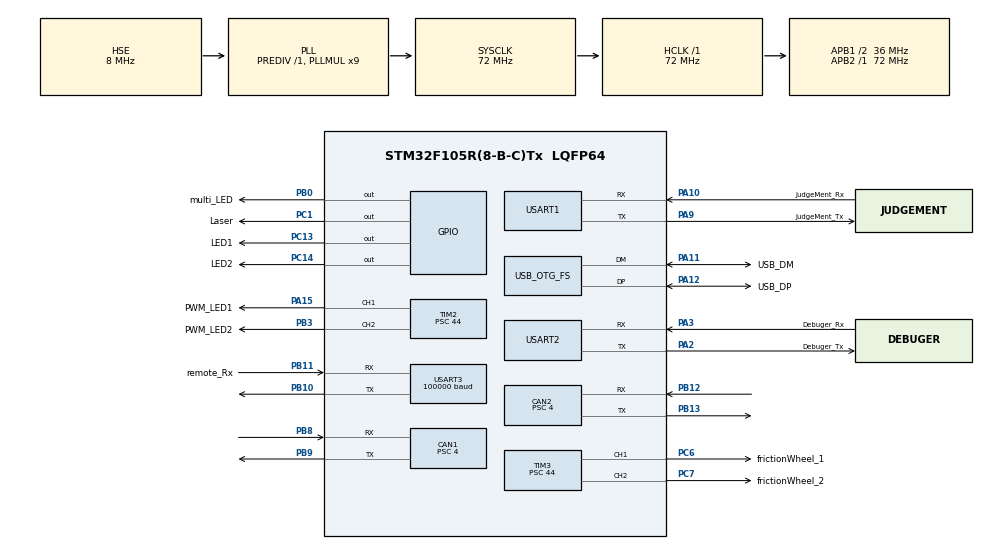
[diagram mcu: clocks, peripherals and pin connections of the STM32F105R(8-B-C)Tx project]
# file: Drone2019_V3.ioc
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CAN1.ABOM=ENABLE
CAN1.AWUM=ENABLE
CAN1.BS1=CAN_BS1_5TQ
CAN1.BS2=CAN_BS2_3TQ
CAN1.CalculateTimeBit=1000
CAN1.CalculateTimeQuantum=111.11111111111111
CAN1.NART=ENABLE
CAN1.Prescaler=4
CAN2.ABOM=ENABLE
CAN2.AWUM=ENABLE
CAN2.BS1=CAN_BS1_5TQ
CAN2.BS2=CAN_BS2_3TQ
CAN2.CalculateTimeBit=1000
CAN2.CalculateTimeQuantum=111.11111111111111
CAN2.NART=ENABLE
CAN2.Prescaler=4
Dma.Request0=USART1_RX
Dma.Request1=USART2_TX
Dma.Request2=USART3_RX
Dma.Request3=USART2_RX
Dma.USART1_RX.0.Direction=DMA_PERIPH_TO_MEMORY
Dma.USART1_RX.0.Instance=DMA1_Channel5
Dma.USART1_RX.0.MemDataAlignment=DMA_MDATAALIGN_BYTE
Dma.USART1_RX.0.MemInc=DMA_MINC_ENABLE
Dma.USART1_RX.0.Mode=DMA_CIRCULAR
Dma.USART1_RX.0.PeriphDataAlignment=DMA_PDATAALIGN_BYTE
Dma.USART1_RX.0.PeriphInc=DMA_PINC_DISABLE
Dma.USART1_RX.0.Priority=DMA_PRIORITY_LOW
Dma.USART2_RX.3.Direction=DMA_PERIPH_TO_MEMORY
Dma.USART2_RX.3.Instance=DMA1_Channel6
Dma.USART2_RX.3.MemDataAlignment=DMA_MDATAALIGN_BYTE
Dma.USART2_RX.3.MemInc=DMA_MINC_ENABLE
Dma.USART2_RX.3.Mode=DMA_NORMAL
Dma.USART2_RX.3.PeriphDataAlignment=DMA_PDATAALIGN_BYTE
Dma.USART2_RX.3.PeriphInc=DMA_PINC_DISABLE
Dma.USART2_RX.3.Priority=DMA_PRIORITY_LOW
Dma.USART2_TX.1.Direction=DMA_MEMORY_TO_PERIPH
Dma.USART2_TX.1.Instance=DMA1_Channel7
Dma.USART2_TX.1.MemDataAlignment=DMA_MDATAALIGN_BYTE
Dma.USART2_TX.1.MemInc=DMA_MINC_ENABLE
Dma.USART2_TX.1.Mode=DMA_NORMAL
Dma.USART2_TX.1.PeriphDataAlignment=DMA_PDATAALIGN_BYTE
Dma.USART2_TX.1.PeriphInc=DMA_PINC_DISABLE
Dma.USART2_TX.1.Priority=DMA_PRIORITY_LOW
Dma.USART3_RX.2.Direction=DMA_PERIPH_TO_MEMORY
Dma.USART3_RX.2.Instance=DMA1_Channel3
Dma.USART3_RX.2.MemDataAlignment=DMA_MDATAALIGN_BYTE
Dma.USART3_RX.2.MemInc=DMA_MINC_ENABLE
Dma.USART3_RX.2.Mode=DMA_CIRCULAR
Dma.USART3_RX.2.PeriphDataAlignment=DMA_PDATAALIGN_BYTE
Dma.USART3_RX.2.PeriphInc=DMA_PINC_DISABLE
Dma.USART3_RX.2.Priority=DMA_PRIORITY_LOW
FREERTOS.Tasks01=init_TASK,0,128,init,Default,NULL,Dynamic,NULL,NULL
Mcu.Family=STM32F1
Mcu.Name=STM32F105R(8-B-C)Tx
Mcu.Package=LQFP64
NVIC.CAN1_RX0_IRQn=true\:5\:0\:false\:false\:true\:true\:true
NVIC.CAN1_RX1_IRQn=true\:5\:0\:false\:false\:true\:true\:true
NVIC.CAN1_TX_IRQn=true\:5\:0\:false\:false\:true\:true\:true
NVIC.CAN2_RX0_IRQn=true\:5\:0\:false\:false\:true\:true\:true
NVIC.CAN2_RX1_IRQn=true\:5\:0\:false\:false\:true\:true\:true
NVIC.CAN2_TX_IRQn=true\:5\:0\:false\:false\:true\:true\:true
NVIC.DMA1_Channel3_IRQn=true\:5\:0\:false\:false\:true\:true\:false
NVIC.DMA1_Channel5_IRQn=true\:5\:0\:false\:false\:true\:true\:false
NVIC.DMA1_Channel6_IRQn=true\:5\:0\:false\:false\:true\:true\:false
NVIC.DMA1_Channel7_IRQn=true\:5\:0\:false\:false\:true\:true\:false
NVIC.OTG_FS_IRQn=true\:5\:0\:false\:false\:true\:true\:true
NVIC.PriorityGroup=NVIC_PRIORITYGROUP_4
NVIC.USART1_IRQn=true\:5\:0\:false\:false\:true\:true\:true
NVIC.USART2_IRQn=true\:5\:0\:false\:false\:true\:true\:true
NVIC.USART3_IRQn=true\:5\:0\:false\:false\:true\:true\:true
PA10.GPIO_Label=JudgeMent_Rx
PA10.Mode=Multiprocessor_communication
PA10.Signal=USART1_RX
PA11.GPIO_Label=USB_DM
PA11.Mode=Device_Only
PA11.Signal=USB_OTG_FS_DM
PA12.GPIO_Label=USB_DP
PA12.Mode=Device_Only
PA12.Signal=USB_OTG_FS_DP
PA13.Mode=Serial_Wire
PA13.Signal=SYS_JTMS-SWDIO
PA14.Mode=Serial_Wire
PA14.Signal=SYS_JTCK-SWCLK
PA15.GPIO_Label=PWM_LED1
PA15.Signal=S_TIM2_CH1_ETR
PA2.GPIO_Label=Debuger_Tx
PA2.Mode=Multiprocessor_communication
PA2.Signal=USART2_TX
PA3.GPIO_Label=Debuger_Rx
PA3.Mode=Multiprocessor_communication
PA3.Signal=USART2_RX
PA9.GPIO_Label=JudgeMent_Tx
PA9.Mode=Multiprocessor_communication
PA9.Signal=USART1_TX
PB0.GPIO_Label=multi_LED
PB0.Signal=GPIO_Output
PB10.Mode=Multiprocessor_communication
PB10.Signal=USART3_TX
PB11.GPIO_Label=remote_Rx
PB11.Mode=Multiprocessor_communication
PB11.Signal=USART3_RX
PB12.Mode=Slave
PB12.Signal=CAN2_RX
PB13.Mode=Slave
PB13.Signal=CAN2_TX
PB3.GPIO_Label=PWM_LED2
PB3.Signal=S_TIM2_CH2
PB8.Mode=Master
PB8.Signal=CAN1_RX
PB9.Mode=Master
PB9.Signal=CAN1_TX
PC1.GPIO_Label=Laser
PC1.Signal=GPIO_Output
PC13-TAMPER-RTC.GPIO_Label=LED1
PC13-TAMPER-RTC.Signal=GPIO_Output
PC14-OSC32_IN.GPIO_Label=LED2
PC14-OSC32_IN.Signal=GPIO_Output
PC6.GPIO_Label=frictionWheel_1
PC6.Signal=S_TIM3_CH1
PC7.GPIO_Label=frictionWheel_2
PC7.Signal=S_TIM3_CH2
PD0-OSC_IN.Mode=HSE-External-Oscillator
PD0-OSC_IN.Signal=RCC_OSC_IN
PD1-OSC_OUT.Mode=HSE-External-Oscillator
PD1-OSC_OUT.Signal=RCC_OSC_OUT
ProjectManager.HeapSize=0x200
ProjectManager.StackSize=0x400
ProjectManager.TargetToolchain=MDK-ARM V5
RCC.AHBFreq_Value=72000000
RCC.APB1CLKDivider=RCC_HCLK_DIV2
RCC.APB1Freq_Value=36000000
RCC.APB1TimFreq_Value=72000000
RCC.APB2Freq_Value=72000000
RCC.APB2TimFreq_Value=72000000
RCC.HCLKFreq_Value=72000000
RCC.PLLMUL=RCC_PLL_MUL9
RCC.SYSCLKFreq_VALUE=72000000
RCC.SYSCLKSource=RCC_SYSCLKSOURCE_PLLCLK
RCC.USBFreq_Value=48000000
SH.S_TIM2_CH1_ETR.0=TIM2_CH1,PWM Generation1 CH1
SH.S_TIM2_CH2.0=TIM2_CH2,PWM Generation2 CH2
SH.S_TIM3_CH1.0=TIM3_CH1,PWM Generation1 CH1
SH.S_TIM3_CH2.0=TIM3_CH2,PWM Generation2 CH2
TIM2.Channel-PWM\ Generation1\ CH1=TIM_CHANNEL_1
TIM2.Channel-PWM\ Generation2\ CH2=TIM_CHANNEL_2
TIM2.Period=1999
TIM2.Prescaler=44
TIM3.AutoReloadPreload=TIM_AUTORELOAD_PRELOAD_ENABLE
TIM3.Channel-PWM\ Generation1\ CH1=TIM_CHANNEL_1
TIM3.Channel-PWM\ Generation2\ CH2=TIM_CHANNEL_2
TIM3.Period=1999
TIM3.Prescaler=44
USART1.VirtualMode=VM_ASYNC
USART2.VirtualMode=VM_ASYNC
USART3.BaudRate=100000
USART3.Mode=MODE_RX
USART3.Parity=PARITY_EVEN
USART3.VirtualMode=VM_ASYNC
USB_DEVICE.CLASS_NAME_FS=CUSTOMHID
USB_DEVICE.PID_CUSTOMHID_FS=5750
USB_DEVICE.USBD_CUSTOMHID_OUTREPORT_BUF_SIZE=64
USB_DEVICE.USBD_CUSTOM_HID_REPORT_DESC_SIZE=33
USB_DEVICE.VirtualMode=CustomHid
USB_DEVICE.VirtualModeFS=Custom_Hid_FS
USB_OTG_FS.VirtualMode=Device_Only
VP_FREERTOS_VS_ENABLE.Mode=Enabled
VP_USB_DEVICE_VS_USB_DEVICE_CUSTOM_HID_FS.Mode=CUSTOM_HID_FS
board=custom

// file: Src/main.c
/* USER CODE BEGIN Header */
/**
  ******************************************************************************
  * @file           : main.c
  * @brief          : Main program body
  ******************************************************************************
  * This notice applies to any and all portions of this file
  * that are not between comment pairs USER CODE BEGIN and
  * USER CODE END. Other portions of this file, whether
  * inserted by the user or by software development tools
  * are owned by their respective copyright owners.
  *
  * Copyright (c) 2019 STMicroelectronics International N.V.
  * All rights reserved.
  *
  * Redistribution and use in source and binary forms, with or without
  * modification, are permitted, provided that the following conditions are met:
  *
  * 1. Redistribution of source code must retain the above copyright notice,
  *    this list of conditions and the following disclaimer.
  * 2. Redistributions in binary form must reproduce the above copyright notice,
  *    this list of conditions and the following disclaimer in the documentation
  *    and/or other materials provided with the distribution.
  * 3. Neither the name of STMicroelectronics nor the names of other
  *    contributors to this software may be used to endorse or promote products
  *    derived from this software without specific written permission.
  * 4. This software, including modifications and/or derivative works of this
  *    software, must execute solely and exclusively on microcontroller or
  *    microprocessor devices manufactured by or for STMicroelectronics.
  * 5. Redistribution and use of this software other than as permitted under
  *    this license is void and will automatically terminate your rights under
  *    this license.
  *
  * THIS SOFTWARE IS PROVIDED BY STMICROELECTRONICS AND CONTRIBUTORS "AS IS"
  * AND ANY EXPRESS, IMPLIED OR STATUTORY WARRANTIES, INCLUDING, BUT NOT
  * LIMITED TO, THE IMPLIED WARRANTIES OF MERCHANTABILITY, FITNESS FOR A
  * PARTICULAR PURPOSE AND NON-INFRINGEMENT OF THIRD PARTY INTELLECTUAL PROPERTY
  * RIGHTS ARE DISCLAIMED TO THE FULLEST EXTENT PERMITTED BY LAW. IN NO EVENT
  * SHALL STMICROELECTRONICS OR CONTRIBUTORS BE LIABLE FOR ANY DIRECT, INDIRECT,
  * INCIDENTAL, SPECIAL, EXEMPLARY, OR CONSEQUENTIAL DAMAGES (INCLUDING, BUT NOT
  * LIMITED TO, PROCUREMENT OF SUBSTITUTE GOODS OR SERVICES; LOSS OF USE, DATA,
  * OR PROFITS; OR BUSINESS INTERRUPTION) HOWEVER CAUSED AND ON ANY THEORY OF
  * LIABILITY, WHETHER IN CONTRACT, STRICT LIABILITY, OR TORT (INCLUDING
  * NEGLIGENCE OR OTHERWISE) ARISING IN ANY WAY OUT OF THE USE OF THIS SOFTWARE,
  * EVEN IF ADVISED OF THE POSSIBILITY OF SUCH DAMAGE.
  *
  ***************[p[[[***************************************************************
  */
/* USER CODE END Header */

#include "main.h"
#include "cmsis_os.h"
#include "can.h"
#include "dma.h"
#include "tim.h"
#include "usart.h"
#include "usb_device.h"
#include "gpio.h"

/* USER CODE BEGIN Includes */
#include "drv_can.h"
#include "usbd_customhid.h"
/* USER CODE END Includes */

void SystemClock_Config(void);
void MX_FREERTOS_Init(void);

/* USER CODE BEGIN 0 */

uint8_t test[8];
/* USER CODE END 0 */

int main(void)
{

  /* MCU Configuration--------------------------------------------------------*/

  /* Reset of all peripherals, Initializes the Flash interface and the Systick. */

  HAL_Init();

  /* Configure the system clock */
  SystemClock_Config();

  /* USER CODE BEGIN SysInit */
  HAL_Delay(500);
  /* USER CODE END SysInit */

  /* Initialize all configured peripherals */
  MX_GPIO_Init();
  MX_DMA_Init();
  MX_CAN1_Init();
  MX_TIM3_Init();
  MX_CAN2_Init();
  MX_USART3_UART_Init();
  MX_USART1_UART_Init();
  MX_USART2_UART_Init();
  MX_TIM2_Init();

  /* Call init function for freertos objects (in freertos.c) */
  MX_FREERTOS_Init();

  /* Start scheduler */
  osKernelStart();

  /* We should never get here as control is now taken by the scheduler */

  /* Infinite loop */
  while (1)
  {

    /* USER CODE BEGIN 3 */

		HAL_Delay(500);
  }
  /* USER CODE END 3 */
}

void SystemClock_Config(void)
{
  RCC_OscInitTypeDef RCC_OscInitStruct = {0};
  RCC_ClkInitTypeDef RCC_ClkInitStruct = {0};
  RCC_PeriphCLKInitTypeDef PeriphClkInit = {0};

  /**Initializes the CPU, AHB and APB busses clocks
  */
  RCC_OscInitStruct.OscillatorType = RCC_OSCILLATORTYPE_HSE;
  RCC_OscInitStruct.HSEState = RCC_HSE_ON;
  RCC_OscInitStruct.HSEPredivValue = RCC_HSE_PREDIV_DIV1;
  RCC_OscInitStruct.HSIState = RCC_HSI_ON;
  RCC_OscInitStruct.Prediv1Source = RCC_PREDIV1_SOURCE_HSE;
  RCC_OscInitStruct.PLL.PLLState = RCC_PLL_ON;
  RCC_OscInitStruct.PLL.PLLSource = RCC_PLLSOURCE_HSE;
  RCC_OscInitStruct.PLL.PLLMUL = RCC_PLL_MUL9;
  RCC_OscInitStruct.PLL2.PLL2State = RCC_PLL_NONE;
  if (HAL_RCC_OscConfig(&RCC_OscInitStruct) != HAL_OK)
  {
    Error_Handler();
  }
  /**Initializes the CPU, AHB and APB busses clocks
  */
  RCC_ClkInitStruct.ClockType = RCC_CLOCKTYPE_HCLK|RCC_CLOCKTYPE_SYSCLK
                              |RCC_CLOCKTYPE_PCLK1|RCC_CLOCKTYPE_PCLK2;
  RCC_ClkInitStruct.SYSCLKSource = RCC_SYSCLKSOURCE_PLLCLK;
  RCC_ClkInitStruct.AHBCLKDivider = RCC_SYSCLK_DIV1;
  RCC_ClkInitStruct.APB1CLKDivider = RCC_HCLK_DIV2;
  RCC_ClkInitStruct.APB2CLKDivider = RCC_HCLK_DIV1;

  if (HAL_RCC_ClockConfig(&RCC_ClkInitStruct, FLASH_LATENCY_2) != HAL_OK)
  {
    Error_Handler();
  }
  PeriphClkInit.PeriphClockSelection = RCC_PERIPHCLK_USB;
  PeriphClkInit.UsbClockSelection = RCC_USBCLKSOURCE_PLL_DIV3;
  if (HAL_RCCEx_PeriphCLKConfig(&PeriphClkInit) != HAL_OK)
  {
    Error_Handler();
  }
  /**Configure the Systick interrupt time
  */
  __HAL_RCC_PLLI2S_ENABLE();
}

void Error_Handler(void)
{
}

/************************ (C) COPYRIGHT STMicroelectronics *****END OF FILE****/

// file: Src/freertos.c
/* USER CODE BEGIN Header */
/**
  ******************************************************************************
  * File Name          : freertos.c
  * Description        : Code for freertos applications
  ******************************************************************************
  * This notice applies to any and all portions of this file
  * that are not between comment pairs USER CODE BEGIN and
  * USER CODE END. Other portions of this file, whether
  * inserted by the user or by software development tools
  * are owned by their respective copyright owners.
  *
  * Copyright (c) 2019 STMicroelectronics International N.V.
  * All rights reserved.
  *
  * Redistribution and use in source and binary forms, with or without
  * modification, are permitted, provided that the following conditions are met:
  *
  * 1. Redistribution of source code must retain the above copyright notice,
  *    this list of conditions and the following disclaimer.
  * 2. Redistributions in binary form must reproduce the above copyright notice,
  *    this list of conditions and the following disclaimer in the documentation
  *    and/or other materials provided with the distribution.
  * 3. Neither the name of STMicroelectronics nor the names of other
  *    contributors to this software may be used to endorse or promote products
  *    derived from this software without specific written permission.
  * 4. This software, including modifications and/or derivative works of this
  *    software, must execute solely and exclusively on microcontroller or
  *    microprocessor devices manufactured by or for STMicroelectronics.
  * 5. Redistribution and use of this software other than as permitted under
  *    this license is void and will automatically terminate your rights under
  *    this license.
  *
  * THIS SOFTWARE IS PROVIDED BY STMICROELECTRONICS AND CONTRIBUTORS "AS IS"
  * AND ANY EXPRESS, IMPLIED OR STATUTORY WARRANTIES, INCLUDING, BUT NOT
  * LIMITED TO, THE IMPLIED WARRANTIES OF MERCHANTABILITY, FITNESS FOR A
  * PARTICULAR PURPOSE AND NON-INFRINGEMENT OF THIRD PARTY INTELLECTUAL PROPERTY
  * RIGHTS ARE DISCLAIMED TO THE FULLEST EXTENT PERMITTED BY LAW. IN NO EVENT
  * SHALL STMICROELECTRONICS OR CONTRIBUTORS BE LIABLE FOR ANY DIRECT, INDIRECT,
  * INCIDENTAL, SPECIAL, EXEMPLARY, OR CONSEQUENTIAL DAMAGES (INCLUDING, BUT NOT
  * LIMITED TO, PROCUREMENT OF SUBSTITUTE GOODS OR SERVICES; LOSS OF USE, DATA,
  * OR PROFITS; OR BUSINESS INTERRUPTION) HOWEVER CAUSED AND ON ANY THEORY OF
  * LIABILITY, WHETHER IN CONTRACT, STRICT LIABILITY, OR TORT (INCLUDING
  * NEGLIGENCE OR OTHERWISE) ARISING IN ANY WAY OUT OF THE USE OF THIS SOFTWARE,
  * EVEN IF ADVISED OF THE POSSIBILITY OF SUCH DAMAGE.
  *
  ******************************************************************************
  */
/* USER CODE END Header */

#include "FreeRTOS.h"
#include "task.h"
#include "main.h"
#include "cmsis_os.h"

/* USER CODE BEGIN Includes */
#include "drv_uart.h"
#include "usbd_customhid.h"
#include "board.h"
#include "selfCheck.h"
/* USER CODE END Includes */

/* USER CODE BEGIN Variables */
extern CAN_HandleTypeDef hcan1;
extern CAN_HandleTypeDef hcan2;
osThreadId selfCheck_TASKHandle;
osThreadId gimbal_TASKHandle;
osThreadId shoot_TASKHandle;
osThreadId communication_TASKHandle;
osThreadId debug_TASKHandle;
/* USER CODE END Variables */
osThreadId init_TASKHandle;

void init(void const * argument);

extern void MX_USB_DEVICE_Init(void);
void MX_FREERTOS_Init(void); /* (MISRA C 2004 rule 8.1) */

void MX_FREERTOS_Init(void) {

  /* Create the thread(s) */
  /* definition and creation of init_TASK */
  osThreadDef(init_TASK, init, osPriorityNormal, 0, 128);
  init_TASKHandle = osThreadCreate(osThread(init_TASK), NULL);

}

void init(void const * argument)
{
  /* init code for USB_DEVICE */
  MX_USB_DEVICE_Init();

  /* USER CODE BEGIN init */
  FilterConfig();
  USART3_Cmd();
  osThreadDef(selfCheck_TASK, selfCheck, osPriorityNormal, 0, 128);
  selfCheck_TASKHandle = osThreadCreate(osThread(selfCheck_TASK), NULL);
  /* Infinite loop */
  for(;;)
  {
    osDelay(1);
  }
  /* USER CODE END init */
}

/************************ (C) COPYRIGHT STMicroelectronics *****END OF FILE****/
